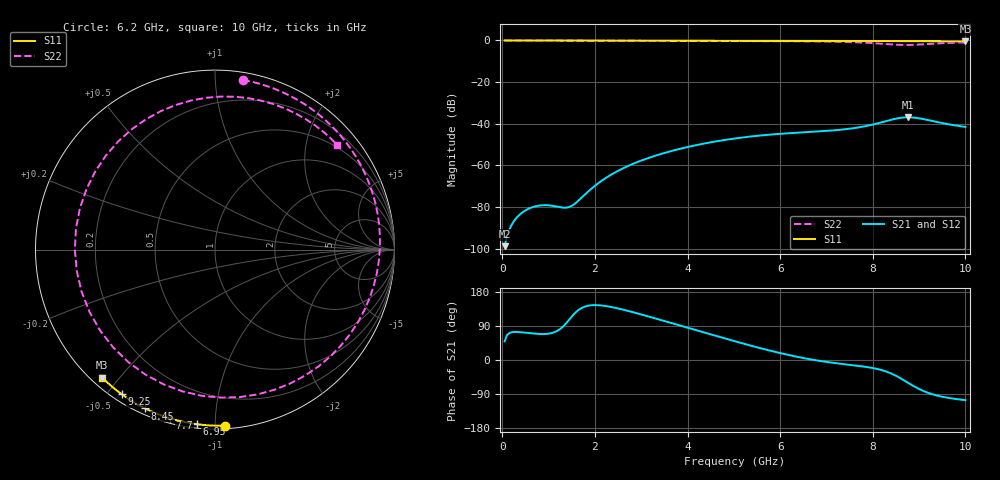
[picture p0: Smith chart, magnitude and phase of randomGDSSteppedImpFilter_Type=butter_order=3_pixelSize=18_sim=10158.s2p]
! freq	dB(S11)	phase(S11)	dB(S12)	phase(S12)
!  dB(S21)	phase(S21)	dB(S22)	phase(S22)
!S-par simulation data
#  GHz  S  DB  R 50
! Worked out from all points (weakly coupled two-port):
!   200 points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, 50 MHz to 10 GHz, reference 50 ohm
!   highest |S21| = -36.90 dB at 8.75 GHz (marker M1); lowest = -98.8 dB at 50 MHz (marker M2)
!   lowest |S11| = -0.4 dB at 10 GHz (marker M3), VSWR 39.12, Z = 1.54 - j22.6 ohm
!   |S11| at or under -10 dB: nowhere
!   |S22| runs from -2.2 to 0.0 dB; largest |S21 - S12| = 0
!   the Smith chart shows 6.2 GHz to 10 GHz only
!   S11 on the Smith chart (normalised r, x): 6.2 GHz: 0.02, -1.06; 6.95 GHz: 0.02, -0.90; 7.7 GHz: 0.02, -0.77; 8.45 GHz: 0.02, -0.65; 9.25 GHz: 0.03, -0.54; 10 GHz: 0.03, -0.45
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0.05  -0.00 -0.8  -98.79 49.3  -98.79 49.3  -0.02 -2.7
0.65  -0.01 -9.8  -80.09 69.9  -80.09 69.9  -0.05 -33.5
1.45  -0.03 -21.8  -79.93 107.3  -79.93 107.3  -0.09 -72.8
1.75  -0.03 -26.2  -74.68 139.3  -74.68 139.3  -0.10 -86.7
2.45  -0.05 -36.4  -63.20 137.4  -63.20 137.4  -0.13 -117.6
3.4  -0.07 -49.9  -54.69 106.4  -54.69 106.4  -0.17 -156.9
4.2  -0.09 -60.9  -50.21 78.2  -50.21 78.2  -0.21 170.8
5.05  -0.11 -72.2  -46.98 48.5  -46.98 48.5  -0.27 135.2
5.65  -0.13 -79.9  -45.48 28.8  -45.48 28.8  -0.31 108.1
6.2  -0.16 -86.8  -44.54 12.7  -44.54 12.7  -0.37 80.7
6.7  -0.18 -93.0  -43.87 0.7  -43.87 0.7  -0.45 52.6
6.95  -0.19 -96.0  -43.52 -4.2  -43.52 -4.2  -0.52 36.9
7.35  -0.22 -100.8  -42.78 -10.6  -42.78 -10.6  -0.68 8.4
7.7  -0.24 -105.0  -41.73 -15.6  -41.73 -15.6  -0.93 -22.0
8.1  -0.27 -109.7  -39.84 -23.8  -39.84 -23.8  -1.43 -67.0
8.35  -0.29 -112.6  -38.35 -33.3  -38.35 -33.3  -1.83 -103.0
8.45  -0.30 -113.7  -37.80 -38.6  -37.80 -38.6  -1.97 -119.2
8.75  -0.32 -117.2  -36.90 -59.3  -36.90 -59.3  -2.16 -171.2
8.95  -0.34 -119.5  -37.21 -73.4  -37.21 -73.4  -2.03 154.9
9.25  -0.37 -122.9  -38.50 -89.0  -38.50 -89.0  -1.63 111.3
9.55  -0.40 -126.3  -39.90 -98.2  -39.90 -98.2  -1.27 77.5
10  -0.44 -131.4  -41.52 -105.9  -41.52 -105.9  -0.95 40.5
